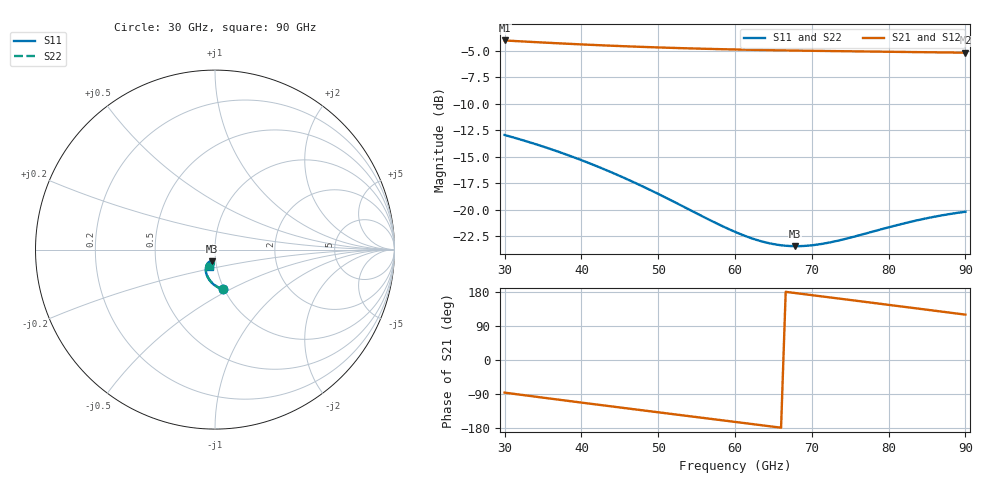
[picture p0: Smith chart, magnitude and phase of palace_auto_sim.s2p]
#  GHZ S DB R 50
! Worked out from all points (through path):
!   101 points, 30 GHz to 90 GHz, reference 50 ohm
!   highest |S21| = -4.05 dB at 30 GHz (marker M1); lowest = -5.2 dB at 90 GHz (marker M2)
!   group delay of S21, straight-line fit = 7.1 ps
!   lowest |S11| = -23.4 dB at 67.8 GHz (marker M3), VSWR 1.14, Z = 47.9 - j6.27 ohm
!   |S11| at or under -10 dB: start of sweep to end of sweep
!   |S22| runs from -23.5 to -13.0 dB; largest |S21 - S12| = 7.1e-14
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30  -12.96 -79.2  -4.05 -86.1  -4.05 -86.1  -13.00 -79.1
32.4  -13.46 -84.8  -4.15 -92.5  -4.15 -92.5  -13.50 -84.7
34.8  -14.00 -90.2  -4.24 -98.8  -4.24 -98.8  -14.05 -90.0
37.2  -14.59 -95.3  -4.33 -105.1  -4.33 -105.1  -14.64 -95.1
40.2  -15.39 -101.2  -4.43 -112.9  -4.43 -112.9  -15.45 -101.0
42.6  -16.08 -105.5  -4.51 -119.1  -4.51 -119.1  -16.15 -105.3
45.6  -17.01 -110.2  -4.60 -126.8  -4.60 -126.8  -17.10 -110.1
50.4  -18.66 -115.9  -4.72 -139.0  -4.72 -139.0  -18.76 -115.7
55.2  -20.42 -118.4  -4.82 -151.2  -4.82 -151.2  -20.55 -118.0
57.6  -21.29 -118.0  -4.86 -157.3  -4.86 -157.3  -21.42 -117.5
60  -22.09 -116.4  -4.90 -163.3  -4.90 -163.3  -22.23 -115.8
62.4  -22.75 -113.6  -4.94 -169.4  -4.94 -169.4  -22.89 -112.9
64.2  -23.12 -110.8  -4.96 -174.0  -4.96 -174.0  -23.25 -110.1
66  -23.35 -107.8  -4.98 -178.6  -4.98 -178.6  -23.47 -107.0
67.8  -23.44 -104.7  -5.00 176.8  -5.00 176.8  -23.55 -103.8
70.2  -23.34 -101.0  -5.03 170.7  -5.03 170.7  -23.43 -100.1
72.6  -23.05 -98.2  -5.05 164.5  -5.05 164.5  -23.12 -97.3
75  -22.64 -96.5  -5.07 158.4  -5.07 158.4  -22.70 -95.7
77.4  -22.17 -95.9  -5.09 152.2  -5.09 152.2  -22.23 -95.2
80.4  -21.59 -96.5  -5.12 144.5  -5.12 144.5  -21.64 -96.0
85.2  -20.77 -100.0  -5.16 132.1  -5.16 132.1  -20.84 -99.6
90  -20.20 -105.6  -5.21 119.8  -5.21 119.8  -20.27 -105.3
